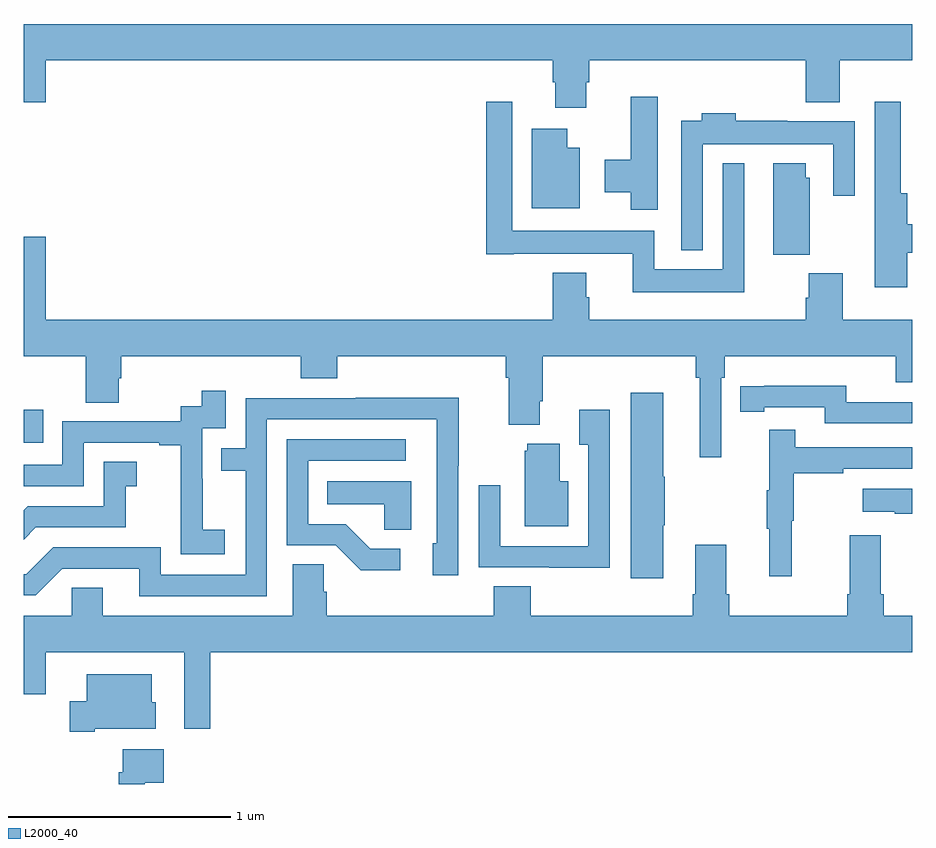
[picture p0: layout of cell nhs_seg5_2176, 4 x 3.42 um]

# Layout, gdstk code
import gdstk
lib = gdstk.Library(unit=1e-6, precision=1e-09)
def R(c, l, rs):  # rectangles x0, y0, x1, y1
    for r in rs: c.add(gdstk.rectangle(r[:2], r[2:], *l))
def P(c, l, *ps):  # polygons
    for p in ps: c.add(gdstk.Polygon(p, *l))
L2000_40 = (2000, 40)

nhs_seg5_2176 = lib.new_cell('nhs_seg5_2176')
R(nhs_seg5_2176, L2000_40, [(237,892.335,237.089,892.483)])
P(nhs_seg5_2176, L2000_40, [(239.533,893.958),(239.546,893.958),(239.546,894.056),(240.521,894.056),(240.521,893.867),(240.673,893.867),(240.673,894.056),(241,894.056),(241,894.22),(237,894.22),(237,893.868),(237.1,893.868),(237.1,894.056),(239.381,894.056),(239.381,893.958),(239.393,893.958),(239.393,893.844),(239.533,893.844)],
  [(239.854,893.893),(239.732,893.893),(239.732,893.61),(239.615,893.61),(239.615,893.462),(239.732,893.462),(239.732,893.385),(239.854,893.385)],
  [(240.244,893.593),(240.147,893.593),(240.147,893.116),(239.838,893.116),(239.838,893.29),(239.199,893.29),(239.199,893.869),(239.083,893.869),(239.083,893.184),(239.206,893.184),(239.206,893.186),(239.741,893.186),(239.741,893.012),(240.244,893.012)],
  [(240.977,893.19),(241,893.19),(241,893.318),(240.977,893.318),(240.977,893.458),(240.947,893.458),(240.947,893.869),(240.831,893.869),(240.831,893.295),(240.83,893.295),(240.83,893.034),(240.977,893.034)],
  [(240.057,893.678),(240.645,893.678),(240.645,893.448),(240.741,893.448),(240.741,893.782),(240.437,893.782),(240.437,893.785),(240.206,893.785),(240.206,893.818),(240.053,893.818),(240.053,893.785),(239.961,893.785),(239.961,893.201),(240.057,893.201)],
  [(239.503,893.662),(239.446,893.662),(239.446,893.749),(239.288,893.749),(239.288,893.39),(239.503,893.39)],
  [(240.538,893.529),(240.52,893.529),(240.52,893.593),(240.374,893.593),(240.374,893.182),(240.538,893.182)],
  [(240.926,892.607),(241,892.607),(241,892.888),(240.686,892.888),(240.686,893.097),(240.533,893.097),(240.533,892.988),(240.521,892.988),(240.521,892.888),(239.546,892.888),(239.546,892.989),(239.533,892.989),(239.533,893.101),(239.381,893.101),(239.381,892.888),(237.1,892.888),(237.1,893.263),(237,893.263),(237,892.724),(237.28,892.724),(237.28,892.516),(237.427,892.516),(237.427,892.626),(237.44,892.626),(237.44,892.724),(238.247,892.724),(238.247,892.625),(238.412,892.625),(238.412,892.724),(239.171,892.724),(239.171,892.628),(239.183,892.628),(239.183,892.415),(239.323,892.415),(239.323,892.522),(239.336,892.522),(239.336,892.724),(240.025,892.724),(240.025,892.628),(240.044,892.628),(240.044,892.269),(240.141,892.269),(240.141,892.628),(240.155,892.628),(240.155,892.724),(240.926,892.724)],
  [(241,892.518),(240.702,892.518),(240.702,892.591),(240.334,892.591),(240.334,892.59),(240.226,892.59),(240.226,892.474),(240.334,892.474),(240.334,892.494),(240.606,892.494),(240.606,892.422),(241,892.422)],
  [(237.904,891.943),(237.806,891.943),(237.806,892.172),(237.804,892.172),(237.804,892.401),(237.909,892.401),(237.909,892.57),(237.801,892.57),(237.801,892.5),(237.708,892.5),(237.708,892.431),(237.174,892.431),(237.174,892.236),(237,892.236),(237,892.14),(237.27,892.14),(237.27,892.335),(237.611,892.335),(237.611,892.323),(237.707,892.323),(237.707,892.039),(237.706,892.039),(237.706,891.833),(237.904,891.833)],
  [(239.878,891.964),(239.886,891.964),(239.886,892.181),(239.878,892.181),(239.878,892.561),(239.732,892.561),(239.732,891.726),(239.878,891.726)],
  [(238.095,892.44),(238.86,892.44),(238.86,891.882),(238.841,891.882),(238.841,891.738),(238.956,891.738),(238.956,892.231),(238.959,892.231),(238.959,892.538),(238.495,892.538),(238.495,892.536),(237.999,892.536),(237.999,892.311),(237.889,892.311),(237.889,892.21),(237.999,892.21),(237.999,891.741),(237.618,891.741),(237.618,891.864),(237.132,891.864),(237.012,891.744),(237,891.744),(237,891.648),(237.054,891.648),(237.174,891.768),(237.521,891.768),(237.521,891.645),(238.095,891.645)],
  [(239.637,892.483),(239.501,892.483),(239.501,892.327),(239.541,892.327),(239.541,891.87),(239.145,891.87),(239.145,892.144),(239.049,892.144),(239.049,891.774),(239.365,891.774),(239.365,891.773),(239.637,891.773)],
  [(240.458,891.984),(240.466,891.984),(240.466,892.198),(240.689,892.198),(240.689,892.218),(241,892.218),(241,892.314),(240.473,892.314),(240.473,892.393),(240.356,892.393),(240.356,892.121),(240.345,892.121),(240.345,891.947),(240.356,891.947),(240.356,891.735),(240.458,891.735)],
  [(238.696,891.858),(238.561,891.858),(238.45,891.969),(238.281,891.969),(238.281,892.254),(238.72,892.254),(238.72,892.35),(238.185,892.35),(238.185,891.873),(238.404,891.873),(238.517,891.761),(238.696,891.761)],
  [(239.452,892.162),(239.413,892.162),(239.413,892.33),(239.267,892.33),(239.267,892.299),(239.255,892.299),(239.255,891.959),(239.452,891.959)],
  [(237.055,891.954),(237.459,891.954),(237.459,892.139),(237.508,892.139),(237.508,892.249),(237.36,892.249),(237.36,892.05),(237.018,892.05),(237,892.032),(237,891.899)],
  [(238.744,892.162),(238.366,892.162),(238.366,892.058),(238.623,892.058),(238.623,891.943),(238.744,891.943)],
  [(241,892.129),(240.777,892.129),(240.777,892.025),(240.92,892.025),(240.92,892.015),(241,892.015)],
  [(237.839,891.392),(241,891.392),(241,891.556),(240.872,891.556),(240.872,891.652),(240.859,891.652),(240.859,891.919),(240.719,891.919),(240.719,891.652),(240.707,891.652),(240.707,891.556),(240.176,891.556),(240.176,891.652),(240.163,891.652),(240.163,891.877),(240.023,891.877),(240.023,891.652),(240.011,891.652),(240.011,891.556),(239.282,891.556),(239.282,891.689),(239.117,891.689),(239.117,891.556),(238.364,891.556),(238.364,891.665),(238.35,891.665),(238.35,891.788),(238.211,891.788),(238.211,891.556),(237.355,891.556),(237.355,891.683),(237.216,891.683),(237.216,891.556),(237,891.556),(237,891.204),(237.1,891.204),(237.1,891.392),(237.723,891.392),(237.723,891.048),(237.839,891.048)],
  [(237.319,891.047),(237.595,891.047),(237.595,891.168),(237.577,891.168),(237.577,891.292),(237.284,891.292),(237.284,891.172),(237.207,891.172),(237.207,891.035),(237.319,891.035)],
  [(237.545,890.804),(237.631,890.804),(237.631,890.956),(237.447,890.956),(237.447,890.852),(237.427,890.852),(237.427,890.799),(237.545,890.799)])

lib.write_gds('nhs_seg5_2176.gds')
